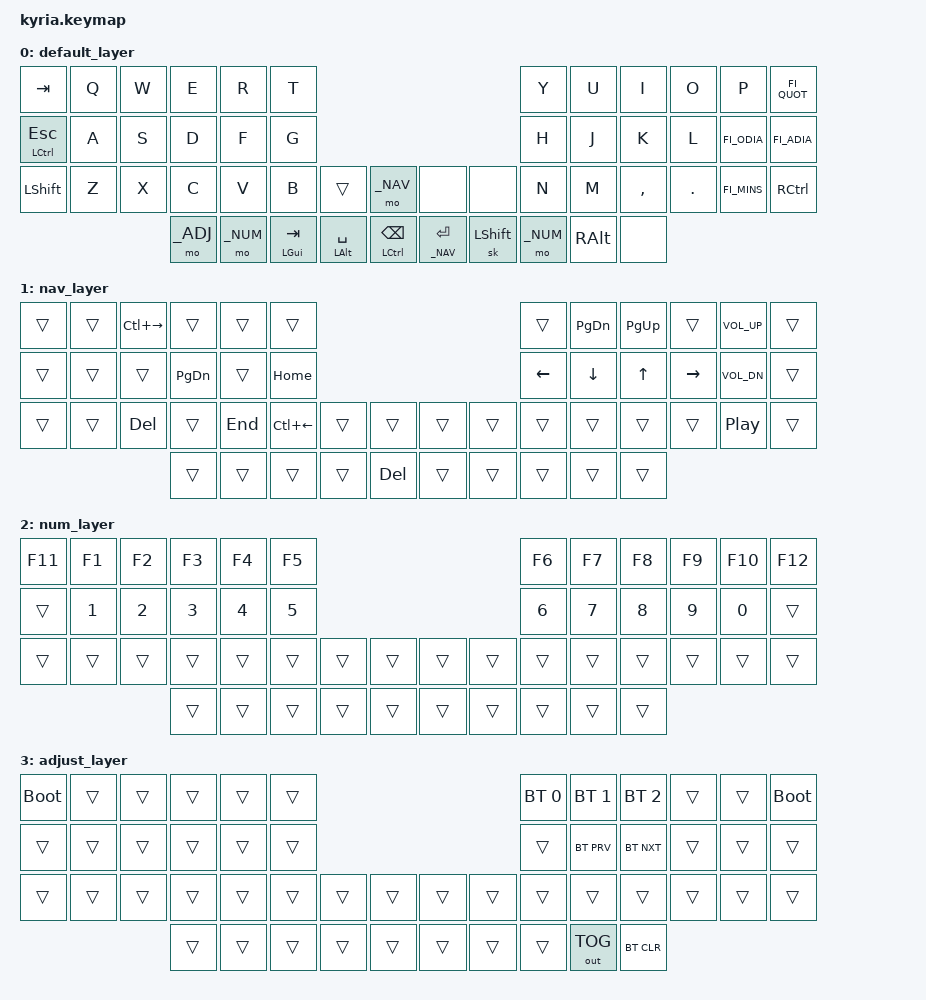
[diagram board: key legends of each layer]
/*
 * Copyright (c) 2020 The ZMK Contributors
 *
 * SPDX-License-Identifier: MIT
 */

#include <behaviors.dtsi>
#include <dt-bindings/zmk/keys.h>
#include <dt-bindings/zmk/bt.h>
#include <dt-bindings/zmk/outputs.h>
#include <dt-bindings/zmk/ext_power.h>

#include "finnish_keymap.h"

// layers
#define _BASE 0
#define _NAV 1
#define _NUM 2
#define _ADJ 3

#define _____ &trans
#define XXXXX &trans

#define LASPC  &mt LALT SPACE
#define LCBSPC &mt LCTRL BACKSPACE
#define CTRLESC &mt LCTRL ESC
#define NAVRET &lt _NAV RET
#define TABGUI &mt LGUI TAB

#define AE FI_ADIA
#define OE FI_ODIA
#define MINS FI_MINS

&lt {
    flavor = "hold-preferred";
};
&mt {
    quick_tap_ms = <200>;
    flavor = "hold-preferred";
};
/ {
    #include "own_behaviors.dtsi"
    #include "combos.dtsi"

    keymap {
        compatible = "zmk,keymap";

        default_layer {
            bindings = <
//     ╭──────────┬─────────┬─────────┬─────────┬─────────┬─────────╮                                             ╭─────────┬─────────┬─────────┬─────────┬─────────┬───────────╮
        &kp TAB    &kp Q     &kp W     &kp E     &kp R     &kp T                                                   &kp Y     &kp U     &kp I     &kp O     &kp P     &kp FI_QUOT
//     ├──────────┼─────────┼─────────┼─────────┼─────────┼─────────┤                                             ├─────────┼─────────┼─────────┼─────────┼─────────┼───────────┤
        CTRLESC    &kp A     &kp S     &kp D     &kp F     &kp G                                                   &kp H     &kp J     &kp K     &kp L     &kp OE    &kp AE
//     ├──────────┼─────────┼─────────┼─────────┼─────────┼─────────┼─────────┬─────────╮     ╭─────────┼─────────┼─────────┼─────────┼─────────┼─────────┼─────────┼───────────┤
        &kp LSHFT  &kp Z     &kp X     &kp C     &kp V     &kp B     &trans    &mo _NAV        &none     &none     &kp N     &kp M     &kp COMMA &kp DOT   &kp MINS  &kp RCTRL
//     ╰──────────┼─────────┼─────────┼─────────┼─────────┼─────────┼─────────┼─────────┤     ├─────────┼─────────┼─────────┼─────────┼─────────┼─────────┼─────────┼───────────╯
                                       &mo _ADJ  &mo _NUM  TABGUI    LASPC     LCBSPC          NAVRET    &sk LSHFT &mo _NUM  &kp RALT  &none
//                                    ╰─────────┴─────────┴─────────┴─────────┴─────────╯     ╰─────────┴─────────┴─────────┴─────────┴─────────╯
            >;
        };

        nav_layer {
            bindings = <
//     ╭──────────┬─────────┬─────────┬─────────┬─────────┬─────────╮                                             ╭─────────┬─────────┬─────────┬─────────┬─────────┬───────────╮
        &trans     &trans    &kp LC(RIGHT) &trans &trans   &trans                                                  &trans    &kp PG_DN &kp PG_UP &trans    &kp C_VOL_UP &trans
//     ├──────────┼─────────┼─────────┼─────────┼─────────┼─────────┤                                             ├─────────┼─────────┼─────────┼─────────┼─────────┼───────────┤
        &trans     &trans    &trans    &kp PG_DN &trans    &kp HOME                                                &kp LEFT  &kp DOWN  &kp UP    &kp RIGHT &kp C_VOL_DN &trans
//     ├──────────┼─────────┼─────────┼─────────┼─────────┼─────────┼─────────┬─────────╮     ╭─────────┼─────────┼─────────┼─────────┼─────────┼─────────┼─────────┼───────────┤
        &trans     &trans    &kp DEL   &trans    &kp END   &kp LC(LEFT) &trans &trans          &trans    &trans    &trans    &trans    &trans    &trans    &kp C_PP  &trans
//     ╰──────────┼─────────┼─────────┼─────────┼─────────┼─────────┼─────────┼─────────┤     ├─────────┼─────────┼─────────┼─────────┼─────────┼─────────┼─────────┼───────────╯
                                       &trans    &trans    &trans    &trans    &kp DEL         &trans    &trans    &trans    &trans    &trans
//                                    ╰─────────┴─────────┴─────────┴─────────┴─────────╯     ╰─────────┴─────────┴─────────┴─────────┴─────────╯
            >;
        };

        num_layer {
            bindings = <
//     ╭──────────┬─────────┬─────────┬─────────┬─────────┬─────────╮                                             ╭─────────┬─────────┬─────────┬─────────┬─────────┬───────────╮
        &kp F11    &kp F1    &kp F2    &kp F3    &kp F4    &kp F5                                                  &kp F6    &kp F7    &kp F8    &kp F9    &kp F10   &kp F12
//     ├──────────┼─────────┼─────────┼─────────┼─────────┼─────────┤                                             ├─────────┼─────────┼─────────┼─────────┼─────────┼───────────┤
        &trans     &kp N1    &kp N2    &kp N3    &kp N4    &kp N5                                                  &kp N6    &kp N7    &kp N8    &kp N9    &kp N0    &trans
//     ├──────────┼─────────┼─────────┼─────────┼─────────┼─────────┼─────────┬─────────╮     ╭─────────┼─────────┼─────────┼─────────┼─────────┼─────────┼─────────┼───────────┤
        &trans     &trans    &trans    &trans    &trans    &trans    &trans    &trans          &trans    &trans    &trans    &trans    &trans    &trans    &trans    &trans
//     ╰──────────┼─────────┼─────────┼─────────┼─────────┼─────────┼─────────┼─────────┤     ├─────────┼─────────┼─────────┼─────────┼─────────┼─────────┼─────────┼───────────╯
                                       &trans    &trans    &trans    &trans    &trans          &trans    &trans    &trans    &trans    &trans
//                                    ╰─────────┴─────────┴─────────┴─────────┴─────────╯     ╰─────────┴─────────┴─────────┴─────────┴─────────╯
            >;
        };

        adjust_layer {
            bindings = <
//     ╭──────────┬─────────┬─────────┬─────────┬─────────┬─────────╮                                             ╭─────────┬─────────┬─────────┬─────────┬─────────┬───────────╮
        &bootloader &trans    &trans    &trans    &trans    &trans                                              &bt BT_SEL 0 &bt BT_SEL 1 &bt BT_SEL 2 &trans &trans &bootloader 
//     ├──────────┼─────────┼─────────┼─────────┼─────────┼─────────┤                                             ├─────────┼─────────┼─────────┼─────────┼─────────┼───────────┤
        &trans     &trans    &trans    &trans    &trans    &trans                                                  &trans    &bt BT_PRV &bt BT_NXT &trans  &trans    &trans 
//     ├──────────┼─────────┼─────────┼─────────┼─────────┼─────────┼─────────┬─────────╮     ╭─────────┼─────────┼─────────┼─────────┼─────────┼─────────┼─────────┼───────────┤
        &trans     &trans    &trans    &trans    &trans    &trans    &trans    &trans          &trans    &trans    &trans    &trans    &trans    &trans    &trans    &trans
//     ╰──────────┼─────────┼─────────┼─────────┼─────────┼─────────┼─────────┼─────────┤     ├─────────┼─────────┼─────────┼─────────┼─────────┼─────────┼─────────┼───────────╯
                                       &trans    &trans    &trans    &trans    &trans          &trans    &trans    &trans    &out OUT_TOG &bt BT_CLR
//                                    ╰─────────┴─────────┴─────────┴─────────┴─────────╯     ╰─────────┴─────────┴─────────┴─────────┴─────────╯
            >;
        };

    };

};

/*

        template_layer {
            bindings = <
//     ╭──────────┬─────────┬─────────┬─────────┬─────────┬─────────╮                                             ╭─────────┬─────────┬─────────┬─────────┬─────────┬───────────╮
        &trans     &trans    &trans    &trans    &trans    &trans                                                  &trans    &trans    &trans    &trans    &trans    &trans 
//     ├──────────┼─────────┼─────────┼─────────┼─────────┼─────────┤                                             ├─────────┼─────────┼─────────┼─────────┼─────────┼───────────┤
        &trans     &trans    &trans    &trans    &trans    &trans                                                  &trans    &trans    &trans    &trans    &trans    &trans 
//     ├──────────┼─────────┼─────────┼─────────┼─────────┼─────────┼─────────┬─────────╮     ╭─────────┼─────────┼─────────┼─────────┼─────────┼─────────┼─────────┼───────────┤
        &trans     &trans    &trans    &trans    &trans    &trans    &trans    &trans          &trans    &trans    &trans    &trans    &trans    &trans    &trans    &trans
//     ╰──────────┼─────────┼─────────┼─────────┼─────────┼─────────┼─────────┼─────────┤     ├─────────┼─────────┼─────────┼─────────┼─────────┼─────────┼─────────┼───────────╯
                                       &trans    &trans    &trans    &trans    &trans          &trans    &trans    &trans    &trans    &trans
//                                    ╰─────────┴─────────┴─────────┴─────────┴─────────╯     ╰─────────┴─────────┴─────────┴─────────┴─────────╯
            >;
        };


*/

//     ╭──────────┬─────────┬─────────┬─────────┬─────────┬─────────╮                                             ╭────────┬─────────┬─────────┬─────────┬─────────┬───────────╮
//     ├──────────┼─────────┼─────────┼─────────┼─────────┼─────────┤                                             ├────────┼─────────┼─────────┼─────────┼─────────┼───────────┤
//     ├──────────┼─────────┼─────────┼─────────┼─────────┼─────────┼─────────┬─────────╮     ╭─────────┼─────────┼────────┼─────────┼─────────┼─────────┼─────────┼───────────┤
//     ╰──────────┼─────────┼─────────┼─────────┼─────────┼─────────┼─────────┼─────────┤     ├─────────┼─────────┼────────┼─────────┼─────────┼─────────┼─────────┼───────────╯
//                                    ╰─────────┴─────────┴─────────┴─────────┴─────────╯     ╰─────────┴─────────┴────────┴─────────┴─────────╯
